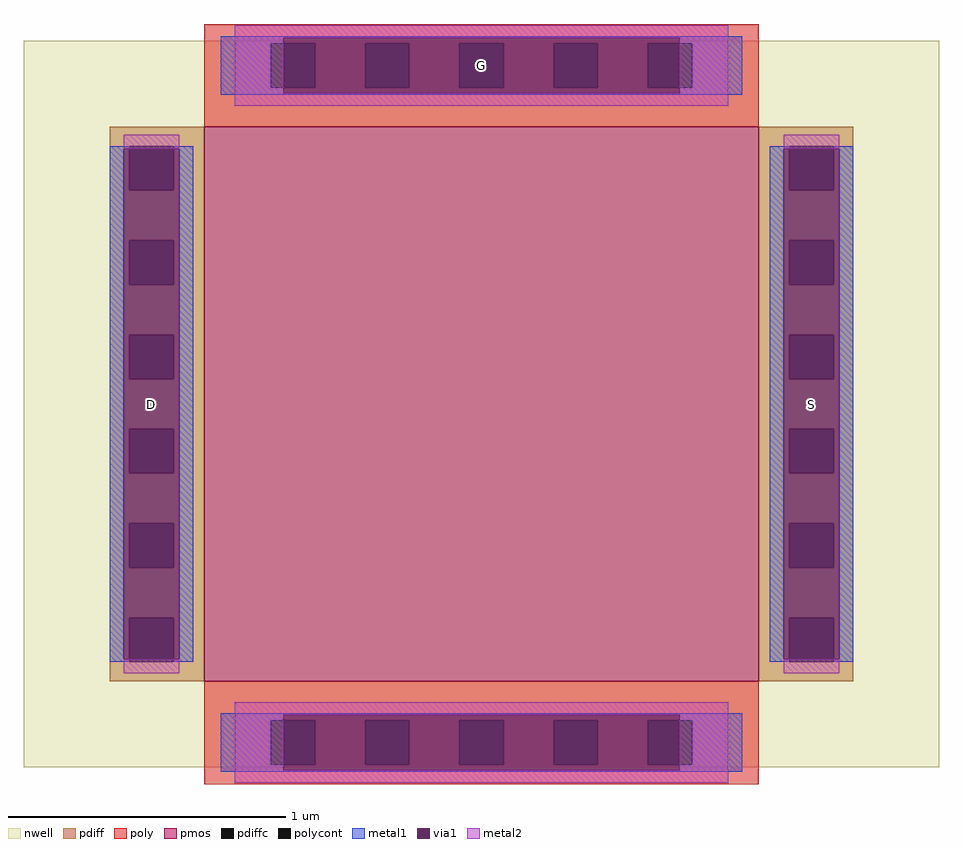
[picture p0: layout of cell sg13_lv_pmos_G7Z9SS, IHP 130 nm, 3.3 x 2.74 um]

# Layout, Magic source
magic
tech ihp-sg13g2
magscale 1 2
<< nwell >>
rect -330 -262 330 262
<< pmos >>
rect -200 -200 200 200
<< pdiff >>
rect -268 186 -200 200
rect -268 154 -254 186
rect -222 154 -200 186
rect -268 118 -200 154
rect -268 86 -254 118
rect -222 86 -200 118
rect -268 50 -200 86
rect -268 18 -254 50
rect -222 18 -200 50
rect -268 -18 -200 18
rect -268 -50 -254 -18
rect -222 -50 -200 -18
rect -268 -86 -200 -50
rect -268 -118 -254 -86
rect -222 -118 -200 -86
rect -268 -154 -200 -118
rect -268 -186 -254 -154
rect -222 -186 -200 -154
rect -268 -200 -200 -186
rect 200 186 268 200
rect 200 154 222 186
rect 254 154 268 186
rect 200 118 268 154
rect 200 86 222 118
rect 254 86 268 118
rect 200 50 268 86
rect 200 18 222 50
rect 254 18 268 50
rect 200 -18 268 18
rect 200 -50 222 -18
rect 254 -50 268 -18
rect 200 -86 268 -50
rect 200 -118 222 -86
rect 254 -118 268 -86
rect 200 -154 268 -118
rect 200 -186 222 -154
rect 254 -186 268 -154
rect 200 -200 268 -186
<< pdiffc >>
rect -254 154 -222 186
rect -254 86 -222 118
rect -254 18 -222 50
rect -254 -50 -222 -18
rect -254 -118 -222 -86
rect -254 -186 -222 -154
rect 222 154 254 186
rect 222 86 254 118
rect 222 18 254 50
rect 222 -50 254 -18
rect 222 -118 254 -86
rect 222 -186 254 -154
<< poly >>
rect -200 260 200 274
rect -200 228 -152 260
rect -120 228 -84 260
rect -52 228 -16 260
rect 16 228 52 260
rect 84 228 120 260
rect 152 228 200 260
rect -200 200 200 228
rect -200 -228 200 -200
rect -200 -260 -152 -228
rect -120 -260 -84 -228
rect -52 -260 -16 -228
rect 16 -260 52 -228
rect 84 -260 120 -228
rect 152 -260 200 -228
rect -200 -274 200 -260
<< polycont >>
rect -152 228 -120 260
rect -84 228 -52 260
rect -16 228 16 260
rect 52 228 84 260
rect 120 228 152 260
rect -152 -260 -120 -228
rect -84 -260 -52 -228
rect -16 -260 16 -228
rect 52 -260 84 -228
rect 120 -260 152 -228
<< metal1 >>
rect -188 264 188 265
rect -188 260 -143 264
rect 143 260 188 264
rect -188 228 -152 260
rect 152 228 188 260
rect -188 224 -143 228
rect 143 224 188 228
rect -188 223 188 224
rect -268 184 -254 186
rect -222 184 -208 186
rect -268 -184 -258 184
rect -218 -184 -208 184
rect -268 -186 -254 -184
rect -222 -186 -208 -184
rect 208 184 222 186
rect 254 184 268 186
rect 208 -184 218 184
rect 258 -184 268 184
rect 208 -186 222 -184
rect 254 -186 268 -184
rect -188 -224 188 -223
rect -188 -228 -143 -224
rect 143 -228 188 -224
rect -188 -260 -152 -228
rect 152 -260 188 -228
rect -188 -264 -143 -260
rect 143 -264 188 -260
rect -188 -265 188 -264
<< via1 >>
rect -143 260 143 264
rect -143 228 -120 260
rect -120 228 -84 260
rect -84 228 -52 260
rect -52 228 -16 260
rect -16 228 16 260
rect 16 228 52 260
rect 52 228 84 260
rect 84 228 120 260
rect 120 228 143 260
rect -143 224 143 228
rect -258 154 -254 184
rect -254 154 -222 184
rect -222 154 -218 184
rect -258 118 -218 154
rect -258 86 -254 118
rect -254 86 -222 118
rect -222 86 -218 118
rect -258 50 -218 86
rect -258 18 -254 50
rect -254 18 -222 50
rect -222 18 -218 50
rect -258 -18 -218 18
rect -258 -50 -254 -18
rect -254 -50 -222 -18
rect -222 -50 -218 -18
rect -258 -86 -218 -50
rect -258 -118 -254 -86
rect -254 -118 -222 -86
rect -222 -118 -218 -86
rect -258 -154 -218 -118
rect -258 -184 -254 -154
rect -254 -184 -222 -154
rect -222 -184 -218 -154
rect 218 154 222 184
rect 222 154 254 184
rect 254 154 258 184
rect 218 118 258 154
rect 218 86 222 118
rect 222 86 254 118
rect 254 86 258 118
rect 218 50 258 86
rect 218 18 222 50
rect 222 18 254 50
rect 254 18 258 50
rect 218 -18 258 18
rect 218 -50 222 -18
rect 222 -50 254 -18
rect 254 -50 258 -18
rect 218 -86 258 -50
rect 218 -118 222 -86
rect 222 -118 254 -86
rect 254 -118 258 -86
rect 218 -154 258 -118
rect 218 -184 222 -154
rect 222 -184 254 -154
rect 254 -184 258 -154
rect -143 -228 143 -224
rect -143 -260 -120 -228
rect -120 -260 -84 -228
rect -84 -260 -52 -228
rect -52 -260 -16 -228
rect -16 -260 16 -228
rect 16 -260 52 -228
rect 52 -260 84 -228
rect 84 -260 120 -228
rect 120 -260 143 -228
rect -143 -264 143 -260
<< metal2 >>
rect -178 264 178 273
rect -178 224 -143 264
rect 143 224 178 264
rect -178 215 178 224
rect -258 184 -218 194
rect -258 -194 -218 -184
rect 218 184 258 194
rect 218 -194 258 -184
rect -178 -224 178 -215
rect -178 -264 -143 -224
rect 143 -264 178 -224
rect -178 -273 178 -264
<< labels >>
rlabel metal1 s -238 0 -238 0 4 D
rlabel metal1 s 238 0 238 0 4 S
rlabel metal1 s 0 244 0 244 4 G
<< end >>
